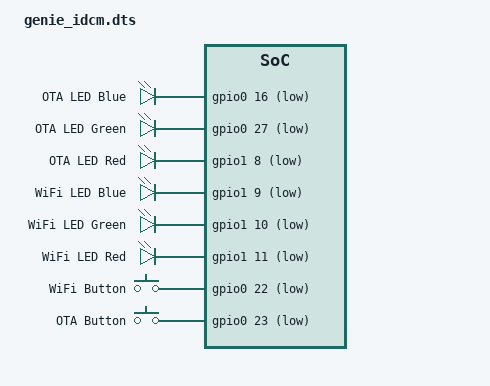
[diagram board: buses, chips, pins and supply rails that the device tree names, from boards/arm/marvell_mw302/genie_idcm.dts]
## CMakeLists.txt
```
# Zephyr Standalone Application CMakeLists.txt
cmake_minimum_required(VERSION 3.20.0)

# ZEPHYR_EXTRA_MODULES is required to trigger zephyr_module.py, which generates
# kconfig_module_dirs.cmake. The mw320_sdk module provides SDK driver sources.
list(APPEND ZEPHYR_EXTRA_MODULES ${CMAKE_CURRENT_SOURCE_DIR}/modules/mw320_sdk)

# Custom board and SOC root directories (freestanding application)
# Zephyr looks for $BOARD_ROOT/boards/<arch>/<board> and $SOC_ROOT/soc/<vendor>/<soc>
set(BOARD_ROOT ${CMAKE_CURRENT_SOURCE_DIR} CACHE PATH "Board root directory")
set(SOC_ROOT ${CMAKE_CURRENT_SOURCE_DIR} CACHE PATH "SOC root directory")

# Board selection (use marvell_mw302 for flash/XIP, marvell_mw302_ram for RAM load)
set(BOARD genie_idcm/88mw320/cpu0 CACHE STRING "Zephyr board")

# --- Dynamically set APP_VERSION based on Git commit and VERSION file ---
execute_process(
    COMMAND git rev-parse --git-dir
    WORKING_DIRECTORY ${CMAKE_CURRENT_SOURCE_DIR}
    OUTPUT_VARIABLE GIT_DIR
    RESULT_VARIABLE GIT_DIR_RESULT
    OUTPUT_STRIP_TRAILING_WHITESPACE
    ERROR_QUIET
)

if(GIT_DIR_RESULT EQUAL 0)
    if(NOT IS_ABSOLUTE "${GIT_DIR}")
        set(GIT_DIR "${CMAKE_CURRENT_SOURCE_DIR}/${GIT_DIR}")
    endif()
    get_filename_component(GIT_DIR "${GIT_DIR}" REALPATH)

    set(GIT_DEPS "${CMAKE_CURRENT_SOURCE_DIR}/VERSION")
    if(EXISTS "${GIT_DIR}/HEAD")
        list(APPEND GIT_DEPS "${GIT_DIR}/HEAD")
        file(READ "${GIT_DIR}/HEAD" GIT_HEAD_CONTENT)
        if("${GIT_HEAD_CONTENT}" MATCHES "ref: ([^\r\n]+)")
            set(GIT_REF "${CMAKE_MATCH_1}")
            if(EXISTS "${GIT_DIR}/${GIT_REF}")
                list(APPEND GIT_DEPS "${GIT_DIR}/${GIT_REF}")
            endif()
            if(EXISTS "${GIT_DIR}/logs/${GIT_REF}")
                list(APPEND GIT_DEPS "${GIT_DIR}/logs/${GIT_REF}")
            endif()
        endif()
    endif()
    if(EXISTS "${GIT_DIR}/packed-refs")
        list(APPEND GIT_DEPS "${GIT_DIR}/packed-refs")
    endif()
    if(EXISTS "${GIT_DIR}/logs/HEAD")
        list(APPEND GIT_DEPS "${GIT_DIR}/logs/HEAD")
    endif()

    set_property(DIRECTORY APPEND PROPERTY CMAKE_CONFIGURE_DEPENDS ${GIT_DEPS})
endif()

execute_process(
    COMMAND git rev-parse --short=7 HEAD
    WORKING_DIRECTORY ${CMAKE_CURRENT_SOURCE_DIR}
    OUTPUT_VARIABLE GIT_COMMIT_HASH
    OUTPUT_STRIP_TRAILING_WHITESPACE
)


file(READ ${CMAKE_CURRENT_SOURCE_DIR}/VERSION VER_CONTENT)

string(REGEX MATCH "VERSION_MAJOR = ([0-9]*)" _ "${VER_CONTENT}")
set(APP_VERSION_MAJOR ${CMAKE_MATCH_1})
string(REGEX MATCH "VERSION_MINOR = ([0-9]*)" _ "${VER_CONTENT}")
set(APP_VERSION_MINOR ${CMAKE_MATCH_1})
string(REGEX MATCH "PATCHLEVEL = ([0-9]*)" _ "${VER_CONTENT}")
set(APP_PATCHLEVEL ${CMAKE_MATCH_1})

set(APP_TAG "v${APP_VERSION_MAJOR}.${APP_VERSION_MINOR}.${APP_PATCHLEVEL}")

execute_process(
    COMMAND git rev-list --count ${APP_TAG}..HEAD
    WORKING_DIRECTORY ${CMAKE_CURRENT_SOURCE_DIR}
    OUTPUT_VARIABLE GIT_COMMIT_COUNT
    RESULT_VARIABLE GIT_REV_LIST_RESULT
    OUTPUT_STRIP_TRAILING_WHITESPACE
    ERROR_QUIET
)

if(NOT GIT_REV_LIST_RESULT EQUAL 0)
    message(FATAL_ERROR "Tag ${APP_TAG} not found or git error. Please create the tag for the current version in the VERSION file.")
endif()

if(GIT_COMMIT_COUNT GREATER 255)
    message(FATAL_ERROR "Tweak version exceeds 255 (Current: ${GIT_COMMIT_COUNT})! Bump semver in VERSION and create a new tag.")
endif()

math(EXPR MATTER_SOFTWARE_VERSION_INT "(${APP_VERSION_MAJOR} << 24) + (${APP_VERSION_MINOR} << 16) + (${APP_PATCHLEVEL} << 8) + ${GIT_COMMIT_COUNT}")
set(APP_FIRMWARE_VERSION "${APP_VERSION_MAJOR}.${APP_VERSION_MINOR}.${APP_PATCHLEVEL}+${GIT_COMMIT_COUNT}")

set(NEW_APP_VERSION_FILE_CONTENT
"VERSION_MAJOR = ${APP_VERSION_MAJOR}
VERSION_MINOR = ${APP_VERSION_MINOR}
PATCHLEVEL = ${APP_PATCHLEVEL}
VERSION_TWEAK = ${GIT_COMMIT_COUNT}
EXTRAVERSION =
")
if(EXISTS "${CMAKE_CURRENT_BINARY_DIR}/app_version_file")
    file(READ "${CMAKE_CURRENT_BINARY_DIR}/app_version_file" CURRENT_APP_VERSION_FILE_CONTENT)
else()
    set(CURRENT_APP_VERSION_FILE_CONTENT "")
endif()
if(NOT "${CURRENT_APP_VERSION_FILE_CONTENT}" STREQUAL "${NEW_APP_VERSION_FILE_CONTENT}")
    file(WRITE ${CMAKE_CURRENT_BINARY_DIR}/app_version_file "${NEW_APP_VERSION_FILE_CONTENT}")
endif()

set(VERSION_FILE ${CMAKE_CURRENT_SOURCE_DIR}/deps/zephyr/VERSION ${CMAKE_CURRENT_BINARY_DIR}/app_version_file)
set(VERSION_TYPE KERNEL APP)

# Tell MCUboot to sign the image with this version
if(NOT "${BOARD}" MATCHES "native_sim")
    set(NEW_APP_VERSION_CONF "CONFIG_MCUBOOT_IMGTOOL_SIGN_VERSION=\"${APP_FIRMWARE_VERSION}\"\n")
    if(EXISTS "${CMAKE_CURRENT_BINARY_DIR}/app_version.conf")
        file(READ "${CMAKE_CURRENT_BINARY_DIR}/app_version.conf" CURRENT_APP_VERSION_CONF)
    else()
        set(CURRENT_APP_VERSION_CONF "")
    endif()
    if(NOT "${CURRENT_APP_VERSION_CONF}" STREQUAL "${NEW_APP_VERSION_CONF}")
        file(WRITE ${CMAKE_CURRENT_BINARY_DIR}/app_version.conf "${NEW_APP_VERSION_CONF}")
    endif()
    list(APPEND EXTRA_CONF_FILE ${CMAKE_CURRENT_BINARY_DIR}/app_version.conf)
endif()
# Load Zephyr build system
set(MW320_SDK_DIR ${CMAKE_SOURCE_DIR}/mw320_sdk CACHE PATH "MW320 SDK directory" FORCE)

# Auto-detect or use prebuilt Matter libraries when building sesame_test
get_filename_component(CHIP_ROOT ${CMAKE_CURRENT_SOURCE_DIR}/third_party/connectedhomeip REALPATH)
get_filename_component(CURRENT_BIN_DIR_NAME ${CMAKE_BINARY_DIR} NAME)
set(REUSE_PREBUILT_CHIP FALSE)
if("${CURRENT_BIN_DIR_NAME}" STREQUAL "sesame_test" OR DEFINED CHIP_PREBUILT_DIR)
    if(EXISTS "${CMAKE_CURRENT_SOURCE_DIR}/sysbuild/sesame_test.conf")
        list(APPEND EXTRA_CONF_FILE "${CMAKE_CURRENT_SOURCE_DIR}/sysbuild/sesame_test.conf")
    endif()
    if(NOT DEFINED DTC_OVERLAY_FILE AND EXISTS "${CMAKE_CURRENT_SOURCE_DIR}/sysbuild/sesame_test.overlay")
        set(DTC_OVERLAY_FILE "${CMAKE_CURRENT_SOURCE_DIR}/sysbuild/sesame_test.overlay")
    endif()

    if(NOT DEFINED CHIP_PREBUILT_DIR)
        set(CHIP_PREBUILT_DIR "${CMAKE_BINARY_DIR}/../sesame/modules/connectedhomeip")
    endif()
    get_filename_component(CHIP_PREBUILT_DIR "${CHIP_PREBUILT_DIR}" ABSOLUTE)
    if(EXISTS "${CHIP_PREBUILT_DIR}/lib/libCHIP.a")
        set(REUSE_PREBUILT_CHIP TRUE)
        message(STATUS "sesame_test: Reusing prebuilt Matter libraries from ${CHIP_PREBUILT_DIR}")
    endif()
endif()

if(REUSE_PREBUILT_CHIP)
    list(APPEND ZEPHYR_EXTRA_MODULES ${CMAKE_CURRENT_SOURCE_DIR}/modules/chip_prebuilt)
else()
    # Inject IPv6 multicast implementation for mDNS in CHIP
    set(CHIP_CFLAGS "${CHIP_CFLAGS} -DIPV6_MULTICAST_IMPLEMENTED=1 -Dipv6mr_interface=ipv6mr_ifindex")
    list(APPEND ZEPHYR_EXTRA_MODULES ${CMAKE_CURRENT_SOURCE_DIR}/third_party/connectedhomeip/config/zephyr/chip-module)
endif()

add_compile_definitions(
    SESAME_VERSION_STR="${APP_FIRMWARE_VERSION}"
)

find_package(Zephyr REQUIRED HINTS $ENV{ZEPHYR_BASE})

project(sesame)
configure_file(src/matter/AppVersion.h.in ${CMAKE_CURRENT_SOURCE_DIR}/src/matter/AppVersion.h @ONLY)

if(CONFIG_CHIP)
    get_filename_component(CHIP_ROOT ${CMAKE_CURRENT_SOURCE_DIR}/third_party/connectedhomeip REALPATH)
    set(ZAP_FILE ${CMAKE_CURRENT_SOURCE_DIR}/src/matter/window-app.zap)
    if(DEFINED sysbuild_toplevel_BINARY_DIR)
        set(COMMON_GEN_DIR "${sysbuild_toplevel_BINARY_DIR}/gen")
    elseif(DEFINED APPLICATION_BINARY_DIR AND NOT "${APPLICATION_BINARY_DIR}" STREQUAL "${CMAKE_CURRENT_BINARY_DIR}")
        set(COMMON_GEN_DIR "${APPLICATION_BINARY_DIR}/gen")
    elseif(EXISTS "${CMAKE_BINARY_DIR}/../domains.yaml" OR EXISTS "${CMAKE_BINARY_DIR}/../_sysbuild")
        get_filename_component(COMMON_GEN_DIR "${CMAKE_BINARY_DIR}/../gen" ABSOLUTE)
    else()
        set(COMMON_GEN_DIR "${CMAKE_CURRENT_BINARY_DIR}/gen")
    endif()

    set(MATTER_IDL_FILE ${COMMON_GEN_DIR}/window-app.matter)

    set_property(DIRECTORY APPEND PROPERTY CMAKE_CONFIGURE_DEPENDS ${ZAP_FILE})

    find_package(Python3 REQUIRED COMPONENTS Interpreter)
    set(ZAP_CLI "${CHIP_ROOT}/.environment/cipd/packages/zap/zap-cli")
    set(NEEDS_ZAP_GEN FALSE)
    if(NOT EXISTS ${MATTER_IDL_FILE})
        set(NEEDS_ZAP_GEN TRUE)
    elseif(${ZAP_FILE} IS_NEWER_THAN ${MATTER_IDL_FILE})
        set(NEEDS_ZAP_GEN TRUE)
    elseif(EXISTS "${ZAP_CLI}" AND "${ZAP_CLI}" IS_NEWER_THAN ${MATTER_IDL_FILE})
        set(NEEDS_ZAP_GEN TRUE)
    endif()

    if(NEEDS_ZAP_GEN)
        file(MAKE_DIRECTORY ${COMMON_GEN_DIR})
        execute_process(
            COMMAND ${Python3_EXECUTABLE} ${CHIP_ROOT}/scripts/tools/zap/generate.py
                    ${ZAP_FILE} -m ${MATTER_IDL_FILE}.tmp
            RESULT_VARIABLE ZAP_GEN_RES
            OUTPUT_VARIABLE ZAP_GEN_OUT
            ERROR_VARIABLE ZAP_GEN_ERR
        )
        if(NOT ZAP_GEN_RES EQUAL 0)
            message(FATAL_ERROR "Failed to generate ${MATTER_IDL_FILE}: ${ZAP_GEN_ERR}\n${ZAP_GEN_OUT}")
        endif()
        file(RENAME ${MATTER_IDL_FILE}.tmp ${MATTER_IDL_FILE})
    endif()

    include(${CHIP_ROOT}/src/app/chip_data_model.cmake)
    chip_configure_data_model(app
        ZAP_FILE ${ZAP_FILE}
        IDL ${MATTER_IDL_FILE}
    )
endif()

# --- Linker settings ---
zephyr_linker_sources(SECTIONS custom_bss.ld)
zephyr_linker_sources(RODATA custom_rodata.ld)
target_link_libraries(app PRIVATE -lm)

if(CONFIG_BOARD_NATIVE_SIM)
    zephyr_compile_definitions(_POSIX_C_SOURCE=200809L)
endif()

# Application Sources
target_sources(app PRIVATE
    src/config_manager.c
    src/leds.c
    src/main.c
    src/httpd.c
    src/network.c
    src/pic_uart.c
    src/pic_updater.c
    src/mqtt.c
    src/sesame_syslog.c
    src/time_util.c
    src/log_ring_buf.c
    src/ws_logs.c
    src/partition.c
    src/boot_utils.c
)

if(CONFIG_BOOTLOADER_MCUBOOT)
    target_sources(app PRIVATE
        src/mcuboot_updater.c
        src/ota.c
        src/ota_client.c
    )
else()
    target_sources(app PRIVATE
        src/mcuboot_updater.c
    )
endif()

if(CONFIG_FLASH_SIMULATOR)
    target_sources(app PRIVATE tests/system/firmware/test_config_injector.c)
endif()

if(CONFIG_CHIP)
    target_sources(app PRIVATE src/matter/MatterTask.cpp src/matter/MatterOTA.cpp src/matter/MatterInfo.cpp third_party/connectedhomeip/examples/providers/DeviceInfoProviderImpl.cpp)
endif()

zephyr_include_directories(include)
zephyr_include_directories(${CMAKE_CURRENT_SOURCE_DIR}/third_party/connectedhomeip/examples/providers)
zephyr_include_directories(${MW320_SDK_DIR}/components/flash/mflash/mw320)
zephyr_include_directories(${CMAKE_CURRENT_SOURCE_DIR}/bootloader/mcuboot/boot/bootutil/include)
zephyr_include_directories(${CMAKE_CURRENT_SOURCE_DIR}/bootloader/mcuboot/boot/zephyr/include)

# MW320 SDK sources are provided by the mw320_sdk Zephyr module
# via ZEPHYR_EXTRA_MODULES

set(nanopb_SOURCE_DIR ${CMAKE_SOURCE_DIR}/third_party/connectedhomeip/third_party/nanopb/repo)
add_subdirectory(${nanopb_SOURCE_DIR} ${CMAKE_BINARY_DIR}/nanopb)
list(APPEND CMAKE_MODULE_PATH "${nanopb_SOURCE_DIR}/extra")
find_package(Nanopb REQUIRED)

# Generate nanopb sources
nanopb_generate_cpp(TARGET proto_app RELPATH proto proto/app_config.proto proto/api.proto)
target_include_directories(app PRIVATE ${CMAKE_CURRENT_BINARY_DIR})
target_link_libraries(nanopb PRIVATE zephyr_interface)
target_link_libraries(app PRIVATE proto_app nanopb)

if(CONFIG_WIFI_MW320)
    add_subdirectory(drivers/wifi/mw320)
endif()

if(NOT CONFIG_BOARD_GENIE_IDCM_RAM)
    if(CONFIG_BUILD_OUTPUT_BIN)
        get_filename_component(CURRENT_BIN_DIR_NAME ${CMAKE_BINARY_DIR} NAME)
        if("${CURRENT_BIN_DIR_NAME}" STREQUAL "sesame_test")
            set(SESAME_BIN_NAME "sesame_test.bin")
            set(SESAME_TARGET_NAME "sesame_test_bin")
        else()
            set(SESAME_BIN_NAME "sesame.bin")
            set(SESAME_TARGET_NAME "sesame_bin")
        endif()

        add_custom_command(
            OUTPUT ${CMAKE_BINARY_DIR}/${SESAME_BIN_NAME}
            COMMAND ${CMAKE_COMMAND} -E copy
                    ${CMAKE_BINARY_DIR}/zephyr/zephyr.signed.confirmed.bin
                    ${CMAKE_BINARY_DIR}/${SESAME_BIN_NAME}
            DEPENDS zephyr_final ${CMAKE_BINARY_DIR}/zephyr/zephyr.signed.confirmed.bin
            COMMENT "Copying zephyr.signed.confirmed.bin -> ${SESAME_BIN_NAME}"
            VERBATIM
        )
        add_custom_target(${SESAME_TARGET_NAME} ALL DEPENDS ${CMAKE_BINARY_DIR}/${SESAME_BIN_NAME})
    endif()
endif()

if(CONFIG_SOC_88MW320)
    target_sources(app PRIVATE src/mw_watchdog.c)
endif()

# Custom test targets
add_custom_target(test_unit
    COMMAND ctest --output-on-failure
    WORKING_DIRECTORY ${CMAKE_BINARY_DIR}
    COMMENT "Running unit tests"
)

add_custom_target(test_integration
    COMMAND bash ${CMAKE_SOURCE_DIR}/run_tests.sh integration
    WORKING_DIRECTORY ${CMAKE_SOURCE_DIR}
    DEPENDS app
    COMMENT "Running integration tests"
)

add_custom_target(test_system
    COMMAND echo "System tests not implemented yet"
    COMMENT "Running system tests"
)

add_custom_target(test_all
    DEPENDS test_unit test_integration test_system
    COMMENT "Running all tests"
)

# Automatically build sesame_test target alongside the main hardware target
if(NOT CONFIG_BOARD_NATIVE_SIM)
    get_filename_component(BIN_DIR_NAME ${CMAKE_BINARY_DIR} NAME)

    if(NOT "${BIN_DIR_NAME}" STREQUAL "sesame_test")
        if("${BIN_DIR_NAME}" STREQUAL "sesame")
            set(SESAME_TEST_OUTDIR ${CMAKE_BINARY_DIR}/../sesame_test)
        else()
            set(SESAME_TEST_OUTDIR ${CMAKE_BINARY_DIR}/sesame_test)
        endif()
        get_filename_component(SESAME_TEST_OUTDIR ${SESAME_TEST_OUTDIR} ABSOLUTE)

        include(ExternalProject)
        ExternalProject_Add(
            sesame_test_build
            SOURCE_DIR ${CMAKE_SOURCE_DIR}
            BINARY_DIR ${SESAME_TEST_OUTDIR}
            CONFIGURE_COMMAND west build -b genie_idcm/88mw320/cpu0 -d ${SESAME_TEST_OUTDIR} ${CMAKE_SOURCE_DIR}
            BUILD_COMMAND ""
            INSTALL_COMMAND ""
            BUILD_ALWAYS TRUE
        )
        add_dependencies(test_system sesame_test_build)
    endif()

    # When building the on-device system test firmware, also produce the OTA
    # update images (B and C) and the Matter/BDX container for B so the system
    # tests don't have to shell out to imgtool/ota_image_tool themselves.
    # B and C are plain-signed (no --confirm/--pad): they are written to the
    # secondary slot via OTA and booted in test mode, which the tests assert on.
    if("${BIN_DIR_NAME}" STREQUAL "sesame_test")
        set(OTA_IMGTOOL ${CMAKE_CURRENT_SOURCE_DIR}/bootloader/mcuboot/scripts/imgtool.py)
        set(OTA_SIGN_KEY ${CMAKE_CURRENT_SOURCE_DIR}/bootloader/mcuboot/root-rsa-2048.pem)
        set(OTA_IMAGE_TOOL ${CMAKE_CURRENT_SOURCE_DIR}/third_party/connectedhomeip/src/app/ota_image_tool.py)
        set(MATTER_PY_SRC ${CMAKE_CURRENT_SOURCE_DIR}/third_party/connectedhomeip/src/controller/python)
        set(SESAME_RAW_BIN ${CMAKE_BINARY_DIR}/zephyr/zephyr.bin)
        set(SESAME_OUT_DIR ${CMAKE_BINARY_DIR}/zephyr)
        math(EXPR OTA_B_PATCH "${APP_PATCHLEVEL} + 1")
        math(EXPR OTA_C_PATCH "${APP_PATCHLEVEL} + 2")
        set(OTA_B_VERSION "${APP_VERSION_MAJOR}.${APP_VERSION_MINOR}.${OTA_B_PATCH}")
        set(OTA_C_VERSION "${APP_VERSION_MAJOR}.${APP_VERSION_MINOR}.${OTA_C_PATCH}")

        add_custom_command(
            OUTPUT ${SESAME_OUT_DIR}/image_b.signed.bin
            COMMAND ${PYTHON_EXECUTABLE} ${OTA_IMGTOOL} sign
                    --version ${OTA_B_VERSION}+1
                    --header-size ${CONFIG_ROM_START_OFFSET}
                    --slot-size ${CONFIG_FLASH_LOAD_SIZE}
                    --align 4
                    --key ${OTA_SIGN_KEY}
                    ${SESAME_RAW_BIN}
                    ${SESAME_OUT_DIR}/image_b.signed.bin
            DEPENDS zephyr_final ${SESAME_RAW_BIN}
            COMMENT "Signing OTA test image B (v${OTA_B_VERSION})"
            VERBATIM
        )
        add_custom_command(
            OUTPUT ${SESAME_OUT_DIR}/image_c.signed.bin
            COMMAND ${PYTHON_EXECUTABLE} ${OTA_IMGTOOL} sign
                    --version ${OTA_C_VERSION}+1
                    --header-size ${CONFIG_ROM_START_OFFSET}
                    --slot-size ${CONFIG_FLASH_LOAD_SIZE}
                    --align 4
                    --key ${OTA_SIGN_KEY}
                    ${SESAME_RAW_BIN}
                    ${SESAME_OUT_DIR}/image_c.signed.bin
            DEPENDS zephyr_final ${SESAME_RAW_BIN}
            COMMENT "Signing OTA test image C (v${OTA_C_VERSION})"
            VERBATIM
        )
        # The BDX vendor version (-vn) is compared against the running firmware's
        # CHIP_DEVICE_CONFIG_DEVICE_SOFTWARE_VERSION (MATTER_SOFTWARE_VERSION_INT,
        # e.g. 131144 for 0.2.0+72). It must be strictly greater or the requestor
        # silently ignores the update, so derive it from the same formula with the
        # patch component bumped by one (0.2.1) rather than a hardcoded small int.
        math(EXPR OTA_B_VN "(${APP_VERSION_MAJOR} << 24) + (${APP_VERSION_MINOR} << 16) + ((${APP_PATCHLEVEL} + 1) << 8) + 1")
        add_custom_command(
            OUTPUT ${SESAME_OUT_DIR}/image_b.ota
            COMMAND ${CMAKE_COMMAND} -E env
                    PYTHONPATH=${MATTER_PY_SRC}
                    ${PYTHON_EXECUTABLE} ${OTA_IMAGE_TOOL} create
                    -v 0xFFF1
                    -p 0x8001
                    -vn ${OTA_B_VN}
                    -vs ${OTA_B_VERSION}
                    -da sha256
                    ${SESAME_OUT_DIR}/image_b.signed.bin
                    ${SESAME_OUT_DIR}/image_b.ota
            DEPENDS ${SESAME_OUT_DIR}/image_b.signed.bin
            COMMENT "Creating Matter/BDX OTA container for image B (vn ${OTA_B_VN})"
            VERBATIM
        )
        add_custom_target(sesame_test_ota_images ALL
            DEPENDS ${SESAME_OUT_DIR}/image_b.signed.bin
                    ${SESAME_OUT_DIR}/image_c.signed.bin
                    ${SESAME_OUT_DIR}/image_b.ota
        )
    endif()
endif()

find_program(GPASM_BIN NAMES gpasm HINTS ${CMAKE_CURRENT_SOURCE_DIR}/tools/gputils/usr/bin)
set(PIC_SRC ${CMAKE_CURRENT_SOURCE_DIR}/src/pic/sensor.asm)
if(GPASM_BIN AND EXISTS ${PIC_SRC} AND NOT "${CURRENT_BIN_DIR_NAME}" STREQUAL "native_sim" AND NOT "${CURRENT_BIN_DIR_NAME}" STREQUAL "sesame_test")
    if(DEFINED sysbuild_toplevel_BINARY_DIR)
        set(COMMON_PIC_DIR "${sysbuild_toplevel_BINARY_DIR}/pic")
    elseif(DEFINED APPLICATION_BINARY_DIR AND NOT "${APPLICATION_BINARY_DIR}" STREQUAL "${CMAKE_CURRENT_BINARY_DIR}")
        set(COMMON_PIC_DIR "${APPLICATION_BINARY_DIR}/pic")
    elseif(EXISTS "${CMAKE_BINARY_DIR}/../domains.yaml" OR EXISTS "${CMAKE_BINARY_DIR}/../_sysbuild")
        get_filename_component(COMMON_PIC_DIR "${CMAKE_BINARY_DIR}/../pic" ABSOLUTE)
    else()
        set(COMMON_PIC_DIR "${CMAKE_CURRENT_SOURCE_DIR}/build/pic")
    endif()

    set(PIC_HEX ${COMMON_PIC_DIR}/sensor.hex)
    set(PIC_HEX_C ${COMMON_PIC_DIR}/pic_firmware_hex.c)
    set(PIC_HEX_H ${COMMON_PIC_DIR}/pic_firmware_hex.h)

    add_custom_command(
        OUTPUT ${PIC_HEX} ${PIC_HEX_C} ${PIC_HEX_H}
        COMMAND ${CMAKE_CURRENT_SOURCE_DIR}/tools/pic/build_pic.sh ${COMMON_PIC_DIR}
        DEPENDS ${PIC_SRC} ${CMAKE_CURRENT_SOURCE_DIR}/VERSION ${CMAKE_CURRENT_SOURCE_DIR}/tools/pic/build_pic.sh
        COMMENT "Assembling PIC firmware ${PIC_HEX} (v${APP_VERSION_MAJOR}.${APP_VERSION_MINOR}.${APP_PATCHLEVEL}+${GIT_COMMIT_COUNT})"
    )
    add_custom_target(pic_firmware ALL DEPENDS ${PIC_HEX} ${PIC_HEX_C} ${PIC_HEX_H})
    if(TARGET app)
        add_dependencies(app pic_firmware)
    endif()
endif()
```

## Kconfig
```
# SPDX-License-Identifier: Apache-2.0

mainmenu "Sesame"

source "Kconfig.zephyr"

rsource "drivers/Kconfig"

config FORCE_FLASH_PAGE_LAYOUT
	bool
	default y
	select FLASH_HAS_PAGE_LAYOUT
```

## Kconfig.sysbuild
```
source "${ZEPHYR_BASE}/share/sysbuild/Kconfig"

config BUILD_NATIVE_SIM
	bool "Build native_sim domain for integration testing"
	default y

config BUILD_PIC_TEST
	bool "Build pic_test domain for hardware PIC testing"
	default y
```

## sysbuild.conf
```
SB_CONFIG_BOOTLOADER_MCUBOOT=y
SB_CONFIG_MCUBOOT_MODE_DIRECT_XIP_WITH_REVERT=y
# App is linked at a fixed address and XIP'd from either slot via the
# MW320 flash controller FAOFFR translation, so no slot1 variant image is needed.
SB_CONFIG_MCUBOOT_DIRECT_XIP_GENERATE_VARIANT=n
SB_CONFIG_BUILD_NATIVE_SIM=y
SB_CONFIG_BUILD_PIC_TEST=y
```

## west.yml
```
manifest:
  remotes:
    - name: zephyrproject-rtos
      url-base: https://github.com/zephyrproject-rtos
    - name: marcusb
      url-base: https://github.com/marcusb

  projects:
    - name: mcuboot
      remote: marcusb
      revision: sesame
      path: bootloader/mcuboot

    - name: zephyr
      remote: zephyrproject-rtos
      revision: main
      import:
        path-prefix: deps

  self:
    path: .
```

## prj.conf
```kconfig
CONFIG_SERIAL=y
CONFIG_LOG=y
CONFIG_WATCHDOG=y

CONFIG_MAIN_STACK_SIZE=8192
CONFIG_SYSTEM_WORKQUEUE_STACK_SIZE=4096
CONFIG_REBOOT=y
CONFIG_POSIX_C_LIB_EXT=y
CONFIG_HEAP_MEM_POOL_SIZE=65536
CONFIG_THREAD_STACK_INFO=y
CONFIG_DYNAMIC_THREAD=y
CONFIG_DYNAMIC_THREAD_ALLOC=y

CONFIG_NETWORKING=y
CONFIG_HTTP_SERVER=y
CONFIG_HTTP_SERVER_WEBSOCKET=y
CONFIG_WEBSOCKET_MAX_CONTEXTS=2
CONFIG_NET_TCP=y
CONFIG_NET_SOCKETS=y
CONFIG_EVENTFD=y
CONFIG_ZVFS_EVENTFD_MAX=4
CONFIG_ZVFS_POLL_MAX=32
CONFIG_NET_MAX_CONTEXTS=16
CONFIG_NET_MAX_CONN=16
CONFIG_WIFI=y
CONFIG_NET_CONNECTION_MANAGER=y
CONFIG_NET_L2_WIFI_MGMT=y
CONFIG_NET_L2_ETHERNET=y
CONFIG_NET_IPV4=y
CONFIG_NET_DHCPV4=y
CONFIG_NET_DHCPV4_SERVER=y
CONFIG_NET_MGMT_EVENT=y
CONFIG_NET_LOG=y
# CONFIG_LOG_BACKEND_NET_AUTOSTART=y
CONFIG_NET_HOSTNAME_ENABLE=y
# CONFIG_LOG_BACKEND_NET_USE_CONNECTION_MANAGER=y
CONFIG_NET_TCP_WORKQ_STACK_SIZE=4096
CONFIG_NET_RX_STACK_SIZE=4096
CONFIG_NET_TX_STACK_SIZE=4096

# IPv6 Configuration
CONFIG_NET_IPV6=y
CONFIG_NET_IPV6_ND=y
CONFIG_NET_IPV6_DAD=y
CONFIG_NET_IPV6_MLD=y
CONFIG_NET_IPV6_RA_RDNSS=y
CONFIG_NET_DHCPV6=y
CONFIG_DNS_RESOLVER=y
# Console
CONFIG_CONSOLE=y
CONFIG_UART_CONSOLE=y
CONFIG_PRINTK=y
CONFIG_NET_SOCKETS_SERVICE_STACK_SIZE=4096

# NVS / Settings Storage
CONFIG_FLASH=y
CONFIG_FLASH_PAGE_LAYOUT=y
CONFIG_NVS=y
CONFIG_SETTINGS=y
CONFIG_SETTINGS_NVS=y
CONFIG_NET_MGMT_EVENT_INFO=y
CONFIG_NET_MGMT_EVENT_STACK_SIZE=4096
CONFIG_UART_INTERRUPT_DRIVEN=y
CONFIG_MQTT_LIB=y
CONFIG_SYS_HEAP_RUNTIME_STATS=y
CONFIG_EVENTS=y

CONFIG_NET_IF_UNICAST_IPV4_ADDR_COUNT=3
CONFIG_NET_IF_UNICAST_IPV6_ADDR_COUNT=6
CONFIG_NET_IF_IPV6_PREFIX_COUNT=6
CONFIG_NET_IPV6_RS_TIMEOUT=2
CONFIG_NET_IF_MCAST_IPV6_ADDR_COUNT=8
CONFIG_NET_IF_MCAST_IPV4_ADDR_COUNT=4
CONFIG_FLASH_MAP=y
CONFIG_STREAM_FLASH=y
CONFIG_IMG_MANAGER=y
CONFIG_HTTP_CLIENT=y

CONFIG_CPP=y
CONFIG_STD_CPP17=y
CONFIG_CHIP=y
CONFIG_CHIP_PROJECT_CONFIG="src/matter/CHIPProjectConfig.h"
CONFIG_CHIP_LIB_SHELL=n
CONFIG_CHIP_BUILD_TESTS=n

# Matter PSA Crypto backend (using Zephyr Mbed TLS 4.x)
CONFIG_CHIP_CRYPTO_PSA=y
CONFIG_PSA_CRYPTO=y
CONFIG_MBEDTLS=y
CONFIG_MBEDTLS_PSA_CRYPTO_C=y
CONFIG_MBEDTLS_ENABLE_HEAP=y
CONFIG_MBEDTLS_HEAP_SIZE=15360
CONFIG_MBEDTLS_PSA_KEY_SLOT_COUNT=64
CONFIG_MBEDTLS_DECLARE_PRIVATE_IDENTIFIERS=y
CONFIG_MBEDTLS_CTR_DRBG_C=y
CONFIG_MBEDTLS_ENTROPY_C=y
CONFIG_PSA_WANT_ALG_SHA_1=y
CONFIG_BASE64=y

CONFIG_CHIP_OTA_REQUESTOR=y
CONFIG_CHIP_EXTENDED_DISCOVERY=y
CONFIG_INIT_STACKS=y
CONFIG_THREAD_STACK_INFO=y
CONFIG_NET_MGMT_EVENT_QUEUE_SIZE=20
CONFIG_NET_CONTEXT_RECV_PKTINFO=y

CONFIG_NET_PKT_RX_COUNT=32
CONFIG_NET_PKT_TX_COUNT=32
CONFIG_NET_BUF_RX_COUNT=128
CONFIG_NET_BUF_TX_COUNT=128
CONFIG_NET_HOSTNAME_DYNAMIC=y
CONFIG_THREAD_NAME=y
CONFIG_SNTP=y
CONFIG_NET_DHCPV4_OPTION_NTP_SERVER=y
CONFIG_LOG_TIMESTAMP_USE_REALTIME=y

CONFIG_ENTROPY_GENERATOR=y
CONFIG_ENTROPY_DEVICE_RANDOM_GENERATOR=y
CONFIG_COUNTER=y
CONFIG_BBRAM=y
```

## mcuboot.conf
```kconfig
CONFIG_FLASH=y
CONFIG_SERIAL=y
CONFIG_CONSOLE=y
CONFIG_UART_CONSOLE=y
CONFIG_GPIO=y
CONFIG_PINCTRL=y
CONFIG_FLASH=y
CONFIG_FLASH_MW320=y
CONFIG_PINCTRL_MW320=y
CONFIG_LOG_MODE_IMMEDIATE=y
CONFIG_LOG=y
CONFIG_MCUBOOT_LOG_LEVEL_DBG=y
CONFIG_BOOT_MAX_IMG_SECTORS_AUTO=n
CONFIG_BOOT_MAX_IMG_SECTORS=512
CONFIG_BOOT_DIRECT_XIP=y
CONFIG_MCUBOOT_CLEANUP_ARM_CORE=n
```

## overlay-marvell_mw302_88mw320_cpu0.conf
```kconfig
# Flash (XIP) build: custom entry point to work around broken XIP after Boot2
CONFIG_KERNEL_ENTRY="zephyr_reset_handler"
```

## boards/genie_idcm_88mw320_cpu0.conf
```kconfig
# Deferred logging configuration for hardware
CONFIG_LOG_MODE_DEFERRED=y
CONFIG_LOG_BACKEND_NET=y
CONFIG_LOG_PROCESS_THREAD_STACK_SIZE=4096
CONFIG_LOG_BUFFER_SIZE=16384

# Hardware networking
CONFIG_NET_L2_ETHERNET_MCAST_FILTER_COUNT=16

# MCUboot bootloader and Direct-XIP settings
CONFIG_BOOTLOADER_MCUBOOT=y
CONFIG_MCUBOOT_IMG_MANAGER=y
CONFIG_IMG_MANAGER=y
CONFIG_STREAM_FLASH=y
CONFIG_FLASH_MAP=y
CONFIG_MCUBOOT_BOOTUTIL_LIB=y
CONFIG_MCUBOOT_BOOTLOADER_MODE_DIRECT_XIP_WITH_REVERT=y
CONFIG_MCUBOOT_SIGNATURE_KEY_FILE="bootloader/mcuboot/root-rsa-2048.pem"
CONFIG_MCUBOOT_GENERATE_CONFIRMED_IMAGE=y
CONFIG_FLASH_LOAD_SIZE=0x170000
CONFIG_IMG_ERASE_PROGRESSIVELY=y

# Hardware coredump settings
CONFIG_DEBUG_COREDUMP=y
CONFIG_DEBUG_COREDUMP_BACKEND_LOGGING=y
CONFIG_DEBUG_COREDUMP_MEMORY_DUMP_MIN=y
```

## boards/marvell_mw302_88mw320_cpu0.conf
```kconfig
genie_idcm_88mw320_cpu0.conf
```

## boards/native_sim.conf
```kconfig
# Disable MW320 hardware
CONFIG_WIFI_MW320=n

# Use Native Socket Offload (Host networking) instead of TAP
CONFIG_NET_DRIVERS=y
CONFIG_NET_SOCKETS_OFFLOAD=y
CONFIG_NET_NATIVE_OFFLOADED_SOCKETS=y
CONFIG_ETH_NATIVE_TAP=n
CONFIG_NET_L2_ETHERNET=n

# Disable sysbuild mcuboot requirements
CONFIG_BOOTLOADER_MCUBOOT=n

CONFIG_SERIAL=y
CONFIG_UART_INTERRUPT_DRIVEN=y
CONFIG_UART_NATIVE_TTY=y
CONFIG_GPIO=y
CONFIG_GPIO_EMUL=y
```

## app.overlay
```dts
/ {
	chosen {
		zephyr,flash = &flash0;
		zephyr,code-partition = &slot0_partition;
	};
};
```

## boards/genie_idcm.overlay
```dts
/ {
	retained_sram: sram@2001fc00 {
		compatible = "zephyr,memory-region", "mmio-sram";
		reg = <0x2001fc00 1024>;
		zephyr,memory-region = "RetainedMem";
		status = "okay";

		retainedmem {
			compatible = "zephyr,retained-ram";
			status = "okay";
			#address-cells = <1>;
			#size-cells = <1>;

			boot_info0: boot_info@0 {
				compatible = "zephyr,retention";
				status = "okay";
				reg = <0x0 0x400>;
			};
		};
	};

	chosen {
		zephyr,flash = &flash0;
		zephyr,code-partition = &linker_partition;
		zephyr,bootloader-info = &boot_info0;
	};
};

&sram1 {
	reg = <0x20000000 0x1FC00>;
};

&flash0 {
	partitions {
		compatible = "fixed-partitions";
		#address-cells = <1>;
		#size-cells = <1>;

		linker_partition: partition@1f000000 {
			label = "linker";
			reg = <0x0 0x160000>;
		};
	};
};
```

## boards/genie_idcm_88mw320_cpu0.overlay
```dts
/delete-node/ &boot2_partition;

&flash0 {
	partitions {
		linker_partition: partition@0 {
			label = "linker";
			reg = <0x00000000 0x00170000>;
		};
	};
};

/ {
	chosen {
		zephyr,code-partition = &linker_partition;
	};
};
```

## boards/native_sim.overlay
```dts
/ {
	aliases {
		pic-uart = &uart1;
		pic-rst = &pic_rst;
		pic-wake = &pic_wake;
		pic-sbl = &pic_sbl;
	};

	buttons {
		compatible = "gpio-keys";
		pic_rst: pic_rst {
			gpios = <&gpio0 1 GPIO_ACTIVE_HIGH>;
			label = "PIC Reset";
		};
		pic_wake: pic_wake {
			gpios = <&gpio0 2 GPIO_ACTIVE_HIGH>;
			label = "PIC Wake";
		};
		pic_sbl: pic_sbl {
			gpios = <&gpio0 3 GPIO_ACTIVE_HIGH>;
			label = "PIC SBL";
		};
	};
};

&uart1 {
	status = "okay";
	compatible = "zephyr,native-tty-uart";
	current-speed = <115200>;
	serial-port = "/tmp/sesame_pic_uart";
};
```

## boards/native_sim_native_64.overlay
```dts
/ {
	aliases {
		pic-uart = &uart1;
		pic-rst = &pic_rst;
		pic-wake = &pic_wake;
		pic-sbl = &pic_sbl;
	};

	buttons {
		compatible = "gpio-keys";
		pic_rst: pic_rst {
			gpios = <&gpio0 1 GPIO_ACTIVE_HIGH>;
			label = "PIC Reset";
		};
		pic_wake: pic_wake {
			gpios = <&gpio0 2 GPIO_ACTIVE_HIGH>;
			label = "PIC Wake";
		};
		pic_sbl: pic_sbl {
			gpios = <&gpio0 3 GPIO_ACTIVE_HIGH>;
			label = "PIC SBL";
		};
	};
};

&uart1 {
	status = "okay";
	compatible = "zephyr,native-tty-uart";
	current-speed = <115200>;
	serial-port = "/tmp/sesame_pic_uart";
};

/ {
	retained_sram: sram@2001fc00 {
		compatible = "zephyr,memory-region", "mmio-sram";
		reg = <0x2001fc00 1024>;
		zephyr,memory-region = "RetainedMem";
		status = "okay";
	};
};

&flashcontroller0 {
	reg = <0x0 0x400000>;
};

&flash0 {
	reg = <0x0 0x400000>;
	/delete-node/ partitions;
	partitions {
		compatible = "fixed-partitions";
		#address-cells = <1>;
		#size-cells = <1>;

		boot2_partition: partition@0 {
			label = "boot2";
			reg = <0x00000000 0x00010000>;
		};
		boot_partition: mcuboot_partition: mcuboot0_partition: partition@10000 {
			label = "mcuboot";
			reg = <0x00010000 0x00020000>;
		};
		mcuboot1_partition: partition@30000 {
			label = "mcuboot-1";
			reg = <0x00030000 0x00020000>;
		};
		slot0_partition: partition@50000 {
			label = "image-0";
			reg = <0x00050000 0x00160000>;
		};
		slot1_partition: partition@1b0000 {
			label = "image-1";
			reg = <0x001B0000 0x00160000>;
		};
		storage_partition: partition@310000 {
			label = "storage";
			reg = <0x00310000 0x00040000>;
		};
	};
};
```

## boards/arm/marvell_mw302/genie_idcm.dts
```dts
/ {
	leds {
		compatible = "gpio-leds";

		led_ota_blue: led_ota_blue {
			gpios = <&gpio0 16 1>;
			label = "OTA LED Blue";
		};

		led_ota_green: led_ota_green {
			gpios = <&gpio0 27 1>;
			label = "OTA LED Green";
		};

		led_ota_red: led_ota_red {
			gpios = <&gpio1 8 1>;
			label = "OTA LED Red";
		};

		led_wifi_blue: led_wifi_blue {
			gpios = <&gpio1 9 1>;
			label = "WiFi LED Blue";
		};

		led_wifi_green: led_wifi_green {
			gpios = <&gpio1 10 1>;
			label = "WiFi LED Green";
		};

		led_wifi_red: led_wifi_red {
			gpios = <&gpio1 11 1>;
			label = "WiFi LED Red";
		};
	};

	buttons {
		compatible = "gpio-keys";

		sw_wifi: sw_wifi {
			label = "WiFi Button";
			gpios = <&gpio0 22 1>;
		};

		sw_ota: sw_ota {
			label = "OTA Button";
			gpios = <&gpio0 23 1>;
		};
	};
};
```

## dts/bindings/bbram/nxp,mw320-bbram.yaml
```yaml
description: NXP MW320 Battery-Backed / Retention RAM (PMU AON RAM)

compatible: "nxp,mw320-bbram"

include: base.yaml

properties:
  reg:
    required: true
```

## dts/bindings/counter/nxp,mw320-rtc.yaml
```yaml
description: NXP MW320 RTC Counter

compatible: "nxp,mw320-rtc"

include: base.yaml

properties:
  reg:
    required: true
  interrupts:
    required: true
  clock-divider-exp:
    type: int
    default: 5
    description: |
      Exponent for clock division from 32.768 kHz.
      Frequency = 32768 / (2^clock-divider-exp).
      Default 5 gives 32768 / 32 = 1024 Hz.
```

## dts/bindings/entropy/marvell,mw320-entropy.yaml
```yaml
description: Marvell MW320 Entropy generator

compatible: "marvell,mw320-entropy"

include: base.yaml
```

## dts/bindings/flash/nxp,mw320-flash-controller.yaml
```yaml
description: NXP MW320 Flash Controller

compatible: "nxp,mw320-flash-controller"

include: base.yaml

properties:
  reg:
    required: true
```

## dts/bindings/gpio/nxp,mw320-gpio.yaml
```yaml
description: NXP MW320 GPIO controller
compatible: "nxp,mw320-gpio"
include: [gpio-controller.yaml, pinctrl-device.yaml, base.yaml]
properties:
  reg:
    required: true
  interrupts:
    required: true
  "#gpio-cells":
    const: 2
  port:
    type: int
    required: true
  ngpios:
    type: int
    default: 32
gpio-cells:
  - pin
  - flags
```

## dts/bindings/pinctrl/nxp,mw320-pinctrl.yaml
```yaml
description: NXP Marvell MW320 Pin Controller

compatible: "nxp,mw320-pinctrl"

include: base.yaml

properties:
  reg:
    required: true

child-binding:
  description: |
    Pinmux configuration nodes.
  
  child-binding:
    include:
      - name: pincfg-node.yaml
        property-allowlist:
          - bias-pull-up
          - bias-pull-down
          - bias-disable

    properties:
      pinmux:
        required: true
        type: array
        description: |
          An array of pins sharing the same properties.
          Use the MW320_PINMUX macro to set the pin and function.
          Example: pinmux = <MW320_PINMUX(2, 1)>;
```

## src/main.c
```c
#include <string.h>
#include <zephyr/logging/log.h>
LOG_MODULE_REGISTER(main, LOG_LEVEL_DBG);

#include <zephyr/app_version.h>
#include <zephyr/device.h>
#include <zephyr/dfu/mcuboot.h>
#include <zephyr/drivers/gpio.h>
#include <zephyr/init.h>
#include <zephyr/kernel.h>
#include <zephyr/net/http/server.h>
#include <zephyr/sys/printk.h>
#include <zephyr/sys/reboot.h>

#include "config_manager.h"
#include "controller.h"
#include "leds.h"
#include "matter_endpoints.h"
#ifdef CONFIG_SOC_88MW320
#include "mflash_drv.h"
#endif
#include "mqtt.h"
#ifdef CONFIG_SOC_88MW320
#include "mw_watchdog.h"
#endif
#include "network.h"
#ifdef CONFIG_BOOTLOADER_MCUBOOT
#include "ota.h"
#endif
#include "pic_uart.h"
#include "sesame_syslog.h"
#include "time_util.h"

K_MSGQ_DEFINE(ctrl_queue, sizeof(ctrl_msg_t), 8, 4);

#if DT_NODE_EXISTS(DT_NODELABEL(sw_wifi))
static const struct gpio_dt_spec wifi_button =
    GPIO_DT_SPEC_GET(DT_NODELABEL(sw_wifi), gpios);
#endif

extern char __sram1_bss_start[];
extern char __sram1_bss_end[];
#ifdef CONFIG_SOC_88MW320
static int zero_sram1_bss(void) {
    memset(__sram1_bss_start, 0, __sram1_bss_end - __sram1_bss_start);
    return 0;
}
SYS_INIT(zero_sram1_bss, PRE_KERNEL_1, 0);
#endif

#if DT_NODE_EXISTS(DT_NODELABEL(sw_wifi))
static struct gpio_callback wifi_button_cb_data;

static void wifi_button_pressed(const struct device* dev,
                                struct gpio_callback* cb, uint32_t pins) {
    ctrl_msg_t msg = {.type = CTRL_MSG_WIFI_BUTTON};
    k_msgq_put(&ctrl_queue, &msg, K_NO_WAIT);
}
#endif

#include "boot_utils.h"

struct mcuboot_info g_mcuboot_info;

const struct mcuboot_info* mcuboot_get_info(void) { return &g_mcuboot_info; }

void matter_task_start(void);

int main(void) {
    LOG_INF("Sesame app starting up");
    const struct mcuboot_info* retained = boot_info_read();
    if (retained) {
        memcpy(&g_mcuboot_info, retained, sizeof(g_mcuboot_info));
        LOG_INF("MCUboot retained info: ver=%s, slot=%u, gen=%u, confirmed=%s",
                g_mcuboot_info.version_str, g_mcuboot_info.slot,
                g_mcuboot_info.gen_level,
                g_mcuboot_info.confirmed ? "true" : "false");
    } else {
        LOG_WRN("MCUboot retained info not available or invalid");
    }
    leds_init();

    // Force timer inclusion for chip-gn
    struct k_timer dummy_timer;
    k_timer_init(&dummy_timer, NULL, NULL);
#if defined(CONFIG_SOC_88MW320) && defined(CONFIG_WATCHDOG)
    init_watchdog();
#endif

    LOG_INF("Firmware version: %s", SESAME_VERSION_STR);
    if (load_config() == 0) {
        LOG_INF("Config loaded successfully");
    } else {
        LOG_WRN("Failed to load config, using defaults");
    }

#ifdef CONFIG_BOOTLOADER_MCUBOOT
    check_ota_test_image();
    if (ota_status == OTA_STATUS_TESTING) {
        set_ota_led_pattern(LED_BLUE, LED_OFF, LED_BLUE, LED_OFF);
    } else
#endif
    {
        set_ota_led_pattern(LED_GREEN, LED_GREEN, LED_OFF, LED_OFF);
    }

    setup_rtc();
    network_init();
    syslog_init();

#ifndef CONFIG_BOARD_NATIVE_SIM
    if (app_config.has_network_config &&
        strlen(app_config.network_config.ssid) > 0) {
        start_sta();
    } else {
        start_ap();
    }
#else
    LOG_INF("Ethernet enabled: AP/STA not started. Simulating L4_CONNECTED");
    k_event_post(&network_events, L4_UP_EVENT);
    k_event_post(&network_events, IPV4_UP_EVENT);
    k_event_post(&network_events, IPV6_UP_EVENT);
#endif

    http_server_start();

#if DT_NODE_EXISTS(DT_NODELABEL(sw_wifi))
    if (gpio_is_ready_dt(&wifi_button)) {
        gpio_pin_configure_dt(&wifi_button, GPIO_INPUT | GPIO_PULL_UP);
        gpio_pin_interrupt_configure_dt(&wifi_button, GPIO_INT_EDGE_TO_ACTIVE);
        gpio_init_callback(&wifi_button_cb_data, wifi_button_pressed,
                           BIT(wifi_button.pin));
        gpio_add_callback(wifi_button.port, &wifi_button_cb_data);
    }

#endif
    LOG_INF("System ready");

#ifdef CONFIG_CHIP
    matter_task_start();
#endif

    while (1) {
        ctrl_msg_t msg;
        int get_ret = k_msgq_get(&ctrl_queue, &msg, K_MSEC(1000));
        if (get_ret == 0) {
            switch (msg.type) {
                case CTRL_MSG_WIFI_BUTTON:
                    start_ap();
                    break;
                case CTRL_MSG_WIFI_CONFIG:
                    app_config.network_config = msg.msg.network_cfg;
                    app_config.has_network_config = true;
                    if (save_network_config() == 0) {
                        k_msleep(1000);
                        sys_reboot(SYS_REBOOT_COLD);
                    } else {
                        LOG_ERR(
                            "Failed to save network config, aborting reboot");
                    }
                    break;
                case CTRL_MSG_MQTT_CONFIG:
                    app_config.mqtt_config = msg.msg.mqtt_cfg;
                    app_config.has_mqtt_config = true;
                    if (save_mqtt_config() == 0) {
                        k_msleep(1000);
                        sys_reboot(SYS_REBOOT_COLD);
                    } else {
                        LOG_ERR("Failed to save mqtt config, aborting reboot");
                    }
                    break;
                case CTRL_MSG_LOGGING_CONFIG:
                    app_config.logging_config = msg.msg.logging_cfg;
                    app_config.has_logging_config = true;
                    if (save_logging_config() == 0) {
                        k_msleep(1000);
                        sys_reboot(SYS_REBOOT_COLD);
                    } else {
                        LOG_ERR(
                            "Failed to save logging config, aborting reboot");
                    }
                    break;
                case CTRL_MSG_RESTART:
                    LOG_INF("Restarting system...");
                    k_msleep(500);
                    sys_reboot(SYS_REBOOT_COLD);
                    break;
                case CTRL_MSG_DOOR_CONTROL: {
                    if (pic_is_updating()) {
                        LOG_WRN("Ignoring door command during PIC update");
                        break;
                    }
                    pic_cmd_t pcmd = PIC_CMD_UNKNOWN;
                    switch (msg.msg.door_control.command) {
                        case DOOR_CMD_OPEN:
                            pcmd = PIC_CMD_OPEN;
                            break;
                        case DOOR_CMD_CLOSE:
                            pcmd = PIC_CMD_CLOSE;
                            break;
                        case DOOR_CMD_STOP:
                            pcmd = PIC_CMD_STOP;
                            break;
                        default:
                            break;
                    }

                    if (pcmd != PIC_CMD_UNKNOWN) {
                        int ret = k_msgq_put(&pic_queue, &pcmd, K_MSEC(1000));
                        if (ret != 0) {
                            LOG_ERR(
                                "Failed to enqueue door cmd %d to pic_queue: "
                                "%d",
                                pcmd, ret);
                        }
                    }
                    break;
                }
#ifdef CONFIG_BOOTLOADER_MCUBOOT
                case CTRL_MSG_OTA_UPGRADE:
                    ota_client_start(&msg.msg.ota_upgrade);
                    break;
                case CTRL_MSG_OTA_PROMOTE:
                    ota_promote_image();
                    break;
#endif
                case CTRL_MSG_DOOR_STATE_UPDATE:
                    publish_state(&msg.msg.door_state);
#ifdef CONFIG_CHIP
                    matter_update_door_state(&msg.msg.door_state);
#endif
                    break;
                case CTRL_MSG_LIGHT_CONTROL: {
                    if (pic_is_updating()) {
                        LOG_WRN("Ignoring light command during PIC update");
                        break;
                    }
                    pic_cmd_t pcmd = msg.msg.light_control.on
                                         ? PIC_CMD_LIGHT_ON
                                         : PIC_CMD_LIGHT_OFF;
                    int ret = k_msgq_put(&pic_queue, &pcmd, K_MSEC(1000));
                    if (ret != 0) {
                        LOG_ERR("Failed to enqueue light cmd %d: %d", pcmd,
                                ret);
                    }
                    break;
                }
                case CTRL_MSG_LIGHT_STATE_UPDATE:
                    publish_light_state(msg.msg.light_state.on);
                    break;
                default:
                    break;
            }
        }

#if defined(CONFIG_SOC_88MW320) && defined(CONFIG_WATCHDOG)
        feed_watchdog();
#endif
    }
    return 0;
}
```

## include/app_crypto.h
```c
#ifndef APP_CRYPTO_H
#define APP_CRYPTO_H

#include "mbedtls/ctr_drbg.h"

/* Returns a pointer to the global CTR_DRBG context.
 * The context is automatically initialized on the first call. */
mbedtls_ctr_drbg_context* app_get_global_drbg(void);

#endif /* APP_CRYPTO_H */
```

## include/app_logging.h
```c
#pragma once

#include "logging_levels.h"

#ifndef LIBRARY_LOG_NAME
#define LIBRARY_LOG_NAME "APP"
#endif
#ifndef LIBRARY_LOG_LEVEL
#define LIBRARY_LOG_LEVEL LOG_DEBUG
#endif

#if !defined(LOG_METADATA_FORMAT) && !defined(LOG_METADATA_ARGS)
#define LOG_METADATA_FORMAT "[%s:%d]"
#define LOG_METADATA_ARGS __FILE__, __LINE__
#endif

#include "logging_stack.h"
void syslog_stop(void);
```

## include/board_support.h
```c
#pragma once

#include <stdbool.h>
#include "FreeRTOS.h"
#include "NetworkInterface.h"

void board_init(void);
void configure_netif(void);
void create_board_tasks(void);
void reboot(void);
void board_refresh_watchdog(void);

void notify_board_dhcp_configured(void);
void notify_board_ipv6_addr_change(void);
bool is_sta_iface(NetworkInterface_t* iface);
bool is_uap_iface(NetworkInterface_t* iface);
```

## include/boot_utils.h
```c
#pragma once

#include <stdbool.h>
#include <stdint.h>
#include "mcuboot_info.h"

#ifdef __cplusplus
extern "C" {
#endif

/* Read Boot2 flags register (0x480C0024) */
uint32_t boot_get_flags(void);

/* Get booted slot (0 or 1) */
uint32_t boot_get_slot(void);

/* Write retained MCUboot info to SRAM */
void boot_info_write(const char *version_str, uint32_t slot, uint32_t gen_level, uint32_t confirmed);

/* Read retained MCUboot info from SRAM. Returns pointer to retained info if valid, or NULL if invalid */
const struct mcuboot_info *boot_info_read(void);

#ifdef __cplusplus
}
#endif
```

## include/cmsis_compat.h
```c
/* CMSIS v2 -> v5 compatibility for SDK driver code */
#ifndef CMSIS_COMPAT_H
#define CMSIS_COMPAT_H

/* NVIC->IPR[] (v2) -> NVIC->ISPR[]/ICPR[] (v5) */
/* SCB->SHP (v2) -> SCB->SHP (v5, same name) */
/* SCB->SHPR (v2) -> SCB->SHP (v5) */

/* Workaround: patch the structs after CMSIS includes */
#ifdef __CMSIS_COMPILER_H
/* Redirect IPR access to ISPR/ICPR */
#define IPR ISPR
#endif

#endif /* CMSIS_COMPAT_H */
```

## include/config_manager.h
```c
#pragma once

#include <stdint.h>

#if __has_include("app_config.pb.h")
#include "app_config.pb.h"
#define HAVE_APP_CONFIG_PB 1
#endif
int load_config(void);
int save_network_config(void);
int save_mqtt_config(void);
int save_logging_config(void);
int save_limits_config(void);
int save_door_limits(uint16_t up_limit, uint16_t down_limit, uint16_t raw_pos);
int get_door_limits(uint16_t* up_limit, uint16_t* down_limit, uint16_t* raw_pos);

#ifdef HAVE_APP_CONFIG_PB
extern AppConfig app_config;
#endif
```

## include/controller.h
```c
#pragma once

#include <zephyr/kernel.h>

#if __has_include("api.pb.h")
#include "api.pb.h"
#include "app_config.pb.h"
#define HAVE_PROTOBUF_MSGS 1
#endif
#include "idcm_msg.h"

typedef enum {
    CTRL_MSG_UNKNOWN,
    CTRL_MSG_OTA_UPGRADE,
    CTRL_MSG_OTA_PROMOTE,

    CTRL_MSG_DOOR_CONTROL,
    CTRL_MSG_DOOR_STATE_UPDATE,
    CTRL_MSG_LIGHT_CONTROL,
    CTRL_MSG_LIGHT_STATE_UPDATE,
    CTRL_MSG_WIFI_BUTTON,
    CTRL_MSG_OTA_BUTTON,
    CTRL_MSG_WIFI_CONFIG,
    CTRL_MSG_MQTT_CONFIG,
    CTRL_MSG_LOGGING_CONFIG,
    CTRL_MSG_RESTART,
} ctrl_msg_type_t;

typedef enum {
    DOOR_CMD_UNKNOWN,
    DOOR_CMD_OPEN,
    DOOR_CMD_CLOSE,
    DOOR_CMD_STOP
} door_cmd_t;

typedef struct {
    door_cmd_t command;
} door_control_msg_t;

typedef struct {
    bool on;
} light_control_msg_t;

typedef struct {
    bool on;
} light_state_msg_t;

typedef struct {
    door_open_state_t state;
    door_direction_t direction;
    int pos;
} door_state_msg_t;

typedef struct {
    ctrl_msg_type_t type;

    union {
#ifdef HAVE_PROTOBUF_MSGS
        FirmwareUpgradeFetchRequest ota_upgrade;
#endif
        door_control_msg_t door_control;
        door_state_msg_t door_state;
        light_control_msg_t light_control;
        light_state_msg_t light_state;
#ifdef HAVE_PROTOBUF_MSGS
        NetworkConfig network_cfg;
        MqttConfig mqtt_cfg;
        LoggingConfig logging_cfg;
#endif
    } msg;
} ctrl_msg_t;

extern struct k_msgq ctrl_queue;

void reboot(void);
```

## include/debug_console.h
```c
#ifndef SESAME_DEBUG_CONSOLE_H
#define SESAME_DEBUG_CONSOLE_H

#ifdef QEMU
#include <stdio.h>
#define PRINTF(...) printf(__VA_ARGS__)
#define SCANF(...)  scanf(__VA_ARGS__)
#define PUTCHAR(c)  putchar(c)
#define GETCHAR()   getchar()
#else
#include "fsl_debug_console.h"
#endif

#endif // SESAME_DEBUG_CONSOLE_H
```

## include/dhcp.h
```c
#pragma once

#include <stdint.h>

void dhcpd_task(void *const params);

typedef struct xNetworkEndPoint NetworkEndPoint_t;

typedef struct {
    NetworkEndPoint_t *endpoint;
} dhcp_task_params_t;
```

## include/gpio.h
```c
#pragma once

void gpio_set(int pin);
void gpio_clear(int pin);
void init_gpio(void);
```

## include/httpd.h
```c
#pragma once
void httpd_task(void*);
```
